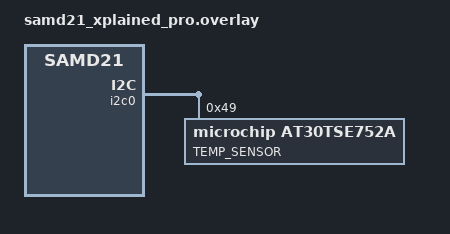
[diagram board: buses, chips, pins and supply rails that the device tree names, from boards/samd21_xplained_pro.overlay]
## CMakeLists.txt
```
#
# CMakeLists.txt para projeto sensor AT30TSE752A
# Semana 6 - Integração completa
#

# Versão mínima do CMake
cmake_minimum_required(VERSION 3.20.0)

# Encontrar Zephyr package
find_package(Zephyr REQUIRED HINTS $ENV{ZEPHYR_BASE})

# Projeto
project(temp_sensor_app)

# Arquivo principal da aplicação
target_sources(app PRIVATE src/main.c)

# Incluir nosso driver de sensor
zephyr_library()
zephyr_library_sources_ifdef(CONFIG_SENSOR drivers/sensors/temperature_at30tse752a.c)
```

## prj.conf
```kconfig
#
# Configuração do projeto para sensor AT30TSE752A
# Semana 6 - Integração completa
#

# Sistema básico
CONFIG_PRINTK=y
CONFIG_STDOUT_CONSOLE=y

# Logging para debugging
CONFIG_LOG=y
CONFIG_SENSOR_LOG_LEVEL_DBG=y

# I2C - necessário para o sensor
CONFIG_I2C=y

# Sensor API - necessário para nosso driver
CONFIG_SENSOR=y

# Heap para alocação dinâmica (se necessário)
CONFIG_HEAP_MEM_POOL_SIZE=8192

# Configurações de debugging
CONFIG_DEBUG=y
CONFIG_ASSERT=y
```

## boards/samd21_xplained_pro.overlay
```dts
/*
 * Device Tree overlay para sensor AT30TSE752A na SAM D21 Xplained Pro
 * Semana 6 - Integração completa
 * PLACA: SAM D21 (ARM Cortex-M0+)
 */

&i2c0 {
	status = "okay";
	
	/* Sensor de temperatura AT30TSE752A no endereço 0x49 */
	temperature_sensor: at30tse752a@49 {
		compatible = "microchip,at30tse752a";
		reg = <0x49>;
		status = "okay";
		label = "TEMP_SENSOR";
	};
};
```

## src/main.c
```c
/*
 * Aplicação de teste para sensor AT30TSE752A
 * Semana 6 - Integração completa
 * PLACA: SAM D21 Xplained Pro
 */

#include <zephyr/kernel.h>
#include <zephyr/drivers/sensor.h>
#include <zephyr/sys/printk.h>
#include <stdio.h>

void main(void)
{
	printk("Iniciando aplicação de teste AT30TSE752A\n");
	printk("Placa: SAM D21 Xplained Pro\n");
	printk(" Sensor: AT30TSE752A (I2C 0x49)\n\n");

	const struct device *temp_sensor = DEVICE_DT_GET(DT_NODELABEL(temperature_sensor));
	
	if (!device_is_ready(temp_sensor)) {
		printk("ERRO: Sensor de temperatura não está pronto!\n");
		printk("   Possíveis causas:\n");
		printk("   - Device Tree overlay incorreto\n");
		printk("   - Endereço I2C diferente de 0x49\n");
		printk("   - Barramento I2C não habilitado\n");
		printk("   - Sensor não conectado\n");
		return;
	}

	printk("Sensor AT30TSE752A detectado e inicializado!\n");
	printk("Iniciando leituras contínuas...\n\n");

	int leitura_count = 0;
	
	while (1) {
		struct sensor_value temp;
		int ret;

		// Ler sensor
		ret = sensor_sample_fetch(temp_sensor);
		if (ret < 0) {
			printk("Erro na leitura I2C: %d\n", ret);
			k_sleep(K_SECONDS(2));
			continue;
		}

		// Obter temperatura
		ret = sensor_channel_get(temp_sensor, SENSOR_CHAN_AMBIENT_TEMP, &temp);
		if (ret < 0) {
			printk("Erro na conversão: %d\n", ret);
			k_sleep(K_SECONDS(2));
			continue;
		}

		// Mostrar temperatura
		leitura_count++;
		printk("[%03d] Temperatura: %d.%06d°C\n", 
		       leitura_count, temp.val1, temp.val2);
		
		// Aguardar 2 segundos
		k_sleep(K_SECONDS(2));
	}
}
```
